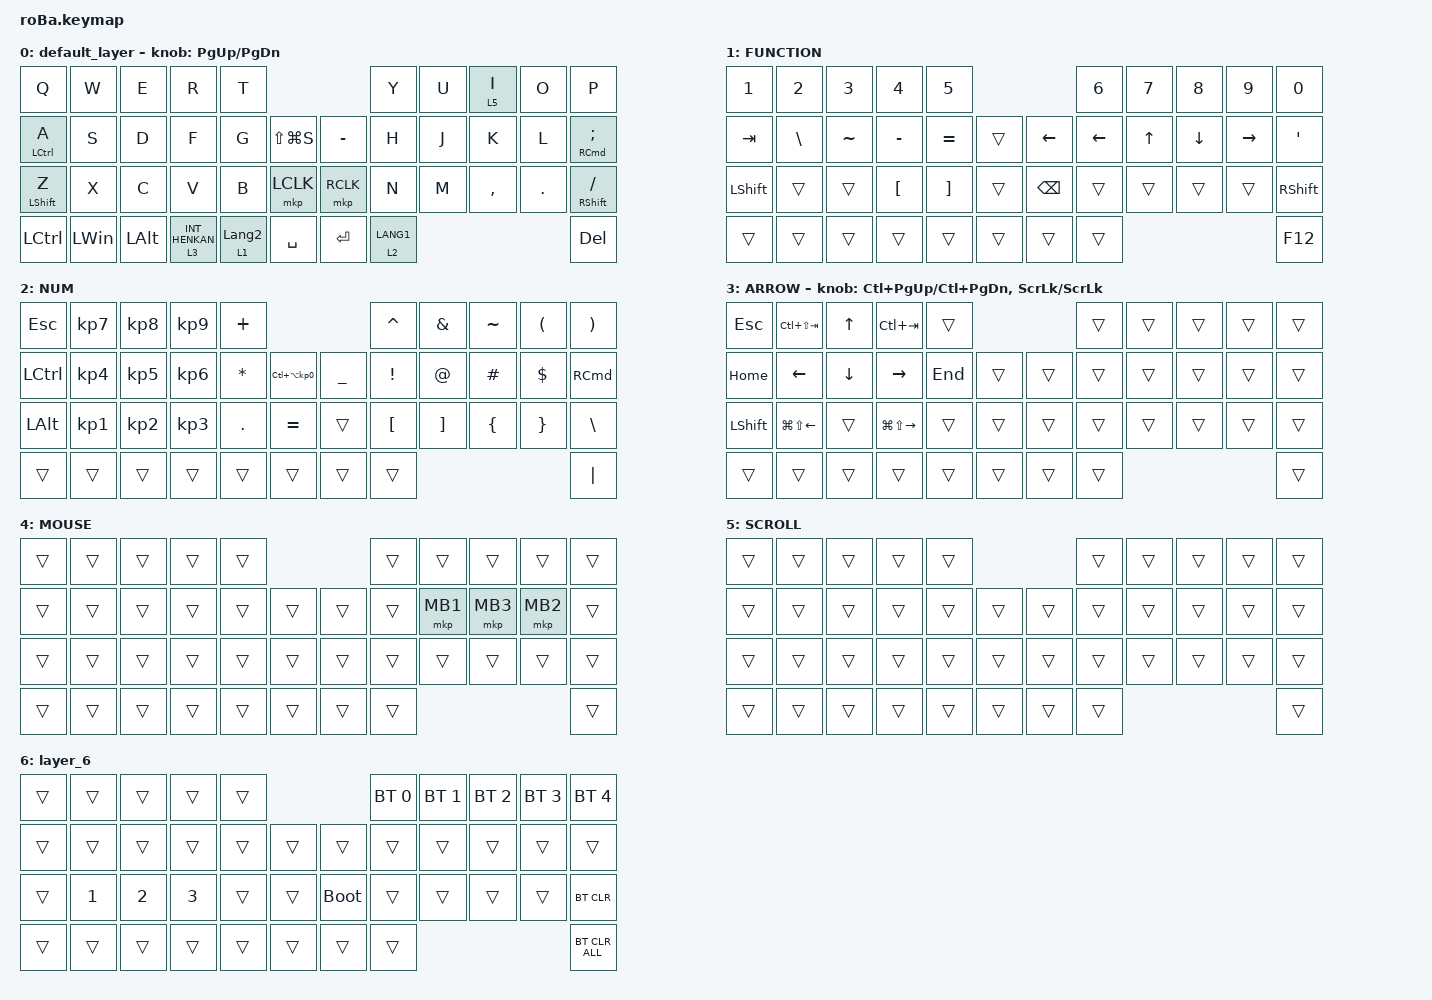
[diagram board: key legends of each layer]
#include <behaviors.dtsi>
#include <dt-bindings/zmk/bt.h>
#include <dt-bindings/zmk/keys.h>
#include <dt-bindings/zmk/pointing.h>

&mt {
    flavor = "balanced";
    quick-tap-ms = <0>;
};

&trackball {
    automouse-layer = <4>;
    scroll-layers = <5>;

    // arrows {
    //     layers = <3>;
    //     bindings =
    //         <&kp RIGHT_ARROW>,
    //         <&kp LEFT_ARROW>,
    //         <&kp UP_ARROW>,
    //         <&kp DOWN_ARROW>;
    //     tick = <10>;
    //     wait-ms = <5>;
    //     tap-ms = <5>;
    // };
};

/ {
    combos {
        compatible = "zmk,combos";

        tab {
            bindings = <&kp TAB>;
            key-positions = <11 12>;
        };

        shift_tab {
            bindings = <&kp LS(TAB)>;
            key-positions = <12 13>;
        };

        muhennkann {
            bindings = <&to_layer_0 INT_MUHENKAN>;
            key-positions = <11 10>;
        };

        double_quotation {
            bindings = <&kp DOUBLE_QUOTES>;
            key-positions = <20 21>;
        };

        eq {
            bindings = <&kp EQUAL>;
            key-positions = <24 25>;
        };
    };

    macros {
        to_layer_0: to_layer_0 {
            compatible = "zmk,behavior-macro-one-param";
            #binding-cells = <1>;
            bindings = <&to 0 &macro_param_1to1 &kp MACRO_PLACEHOLDER>;
            label = "TO_LAYER_0";
        };
    };

    behaviors {
        lt_to_layer_0: lt_to_layer_0 {
            compatible = "zmk,behavior-hold-tap";
            label = "LAYER_TAP_TO_0";
            bindings = <&mo>, <&to_layer_0>;

            #binding-cells = <2>;
            tapping-term-ms = <200>;
        };
    };

    keymap {
        compatible = "zmk,keymap";

        default_layer {
            bindings = <
&kp Q               &kp W         &kp E         &kp R                        &kp T                                           &kp Y        &kp U  &lt 5 I    &kp O    &kp P
&mt LEFT_CONTROL A  &kp S         &kp D         &kp F                        &kp G             &kp LS(LG(S))      &kp MINUS  &kp H        &kp J  &kp K      &kp L    &mt RIGHT_COMMAND SEMICOLON
&mt LEFT_SHIFT Z    &kp X         &kp C         &kp V                        &kp B             &mkp LCLK          &mkp RCLK  &kp N        &kp M  &kp COMMA  &kp DOT  &mt RIGHT_SHIFT SLASH
&kp LCTRL           &kp LEFT_WIN  &kp LEFT_ALT  &lt_to_layer_0 3 INT_HENKAN  &lt 1 LANGUAGE_2  &kp SPACE          &kp ENTER  &lt 2 LANG1                             &kp DEL
            >;

            sensor-bindings = <&inc_dec_kp PG_UP PAGE_DOWN>;
        };

        FUNCTION {
            bindings = <
&kp NUMBER_1    &kp NUMBER_2   &kp NUMBER_3  &kp NUMBER_4      &kp N5                                        &kp NUMBER_6  &kp N7  &kp N8    &kp N9     &kp N0
&kp TAB         &kp BACKSLASH  &kp TILDE     &kp MINUS         &kp EQUAL          &trans      &kp LEFT       &kp LEFT      &kp UP  &kp DOWN  &kp RIGHT  &kp SQT
&kp LEFT_SHIFT  &trans         &trans        &kp LEFT_BRACKET  &kp RIGHT_BRACKET  &trans      &kp BACKSPACE  &trans        &trans  &trans    &trans     &kp RIGHT_SHIFT
&trans          &trans         &trans        &trans            &trans             &trans      &trans         &trans                                     &kp F12
            >;
        };

        NUM {
            bindings = <
&kp ESCAPE        &kp KP_NUMBER_7  &kp KP_NUMBER_8  &kp KP_NUMBER_9  &kp PLUS                                                   &kp CARET         &kp AMPERSAND      &kp TILDE       &kp LEFT_PARENTHESIS  &kp RIGHT_PARENTHESIS
&kp LEFT_CONTROL  &kp KP_NUMBER_4  &kp KP_NUMBER_5  &kp KP_NUMBER_6  &kp ASTERISK  &kp LC(LA(KP_NUMBER_0))      &kp UNDERSCORE  &kp EXCLAMATION   &kp AT_SIGN        &kp HASH        &kp DOLLAR            &kp RIGHT_COMMAND
&kp LEFT_ALT      &kp KP_NUMBER_1  &kp KP_NUMBER_2  &kp KP_NUMBER_3  &kp PERIOD    &kp EQUAL                    &trans          &kp LEFT_BRACKET  &kp RIGHT_BRACKET  &kp LEFT_BRACE  &kp RIGHT_BRACE       &kp BACKSLASH
&trans            &trans           &trans           &trans           &trans        &trans                       &trans          &trans                                                                     &kp PIPE
            >;
        };

        ARROW {
            bindings = <
&kp ESCAPE      &kp LC(LS(TAB))         &kp UP_ARROW    &kp LC(TAB)              &trans                       &trans  &trans  &trans  &trans  &trans
&kp HOME        &kp LEFT_ARROW          &kp DOWN_ARROW  &kp RIGHT_ARROW          &kp END  &trans      &trans  &trans  &trans  &trans  &trans  &trans
&kp LEFT_SHIFT  &kp LG(LS(LEFT_ARROW))  &trans          &kp LG(LS(RIGHT_ARROW))  &trans   &trans      &trans  &trans  &trans  &trans  &trans  &trans
&trans          &trans                  &trans          &trans                   &trans   &trans      &trans  &trans                          &trans
            >;

            sensor-bindings =
                <&inc_dec_kp LC(PAGE_UP) LC(PAGE_DOWN)>,
                <&inc_dec_kp SCROLLLOCK SCROLLLOCK>;
        };

        MOUSE {
            bindings = <
&trans  &trans  &trans  &trans  &trans                      &trans  &trans    &trans    &trans    &trans
&trans  &trans  &trans  &trans  &trans  &trans      &trans  &trans  &mkp MB1  &mkp MB3  &mkp MB2  &trans
&trans  &trans  &trans  &trans  &trans  &trans      &trans  &trans  &trans    &trans    &trans    &trans
&trans  &trans  &trans  &trans  &trans  &trans      &trans  &trans                                &trans
            >;
        };

        SCROLL {
            bindings = <
&trans  &trans  &trans  &trans  &trans                      &trans  &trans  &trans  &trans  &trans
&trans  &trans  &trans  &trans  &trans  &trans      &trans  &trans  &trans  &trans  &trans  &trans
&trans  &trans  &trans  &trans  &trans  &trans      &trans  &trans  &trans  &trans  &trans  &trans
&trans  &trans  &trans  &trans  &trans  &trans      &trans  &trans                          &trans
            >;
        };

        layer_6 {
            bindings = <
&trans  &trans        &trans        &trans        &trans                           &bt BT_SEL 0  &bt BT_SEL 1  &bt BT_SEL 2  &bt BT_SEL 3  &bt BT_SEL 4
&trans  &trans        &trans        &trans        &trans  &trans      &trans       &trans        &trans        &trans        &trans        &trans
&trans  &kp NUMBER_1  &kp NUMBER_2  &kp NUMBER_3  &trans  &trans      &bootloader  &trans        &trans        &trans        &trans        &bt BT_CLR
&trans  &trans        &trans        &trans        &trans  &trans      &trans       &trans                                                  &bt BT_CLR_ALL
            >;
        };
    };
};
